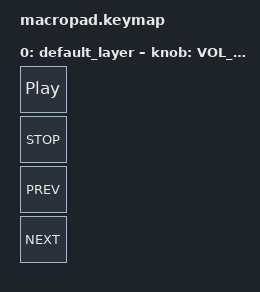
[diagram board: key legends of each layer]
#include <behaviors.dtsi>
#include <dt-bindings/zmk/keys.h>
#include <dt-bindings/zmk/bt.h>

 / {
    keymap {
        compatible = "zmk,keymap";

        default_layer {
            bindings = <
                &kp C_PP  
                &kp C_STOP         
                &kp C_PREV   
                &kp C_NEXT   
            >;
         sensor-bindings = <&inc_dec_kp C_VOL_UP C_VOL_DN>;
        };
    };
};
